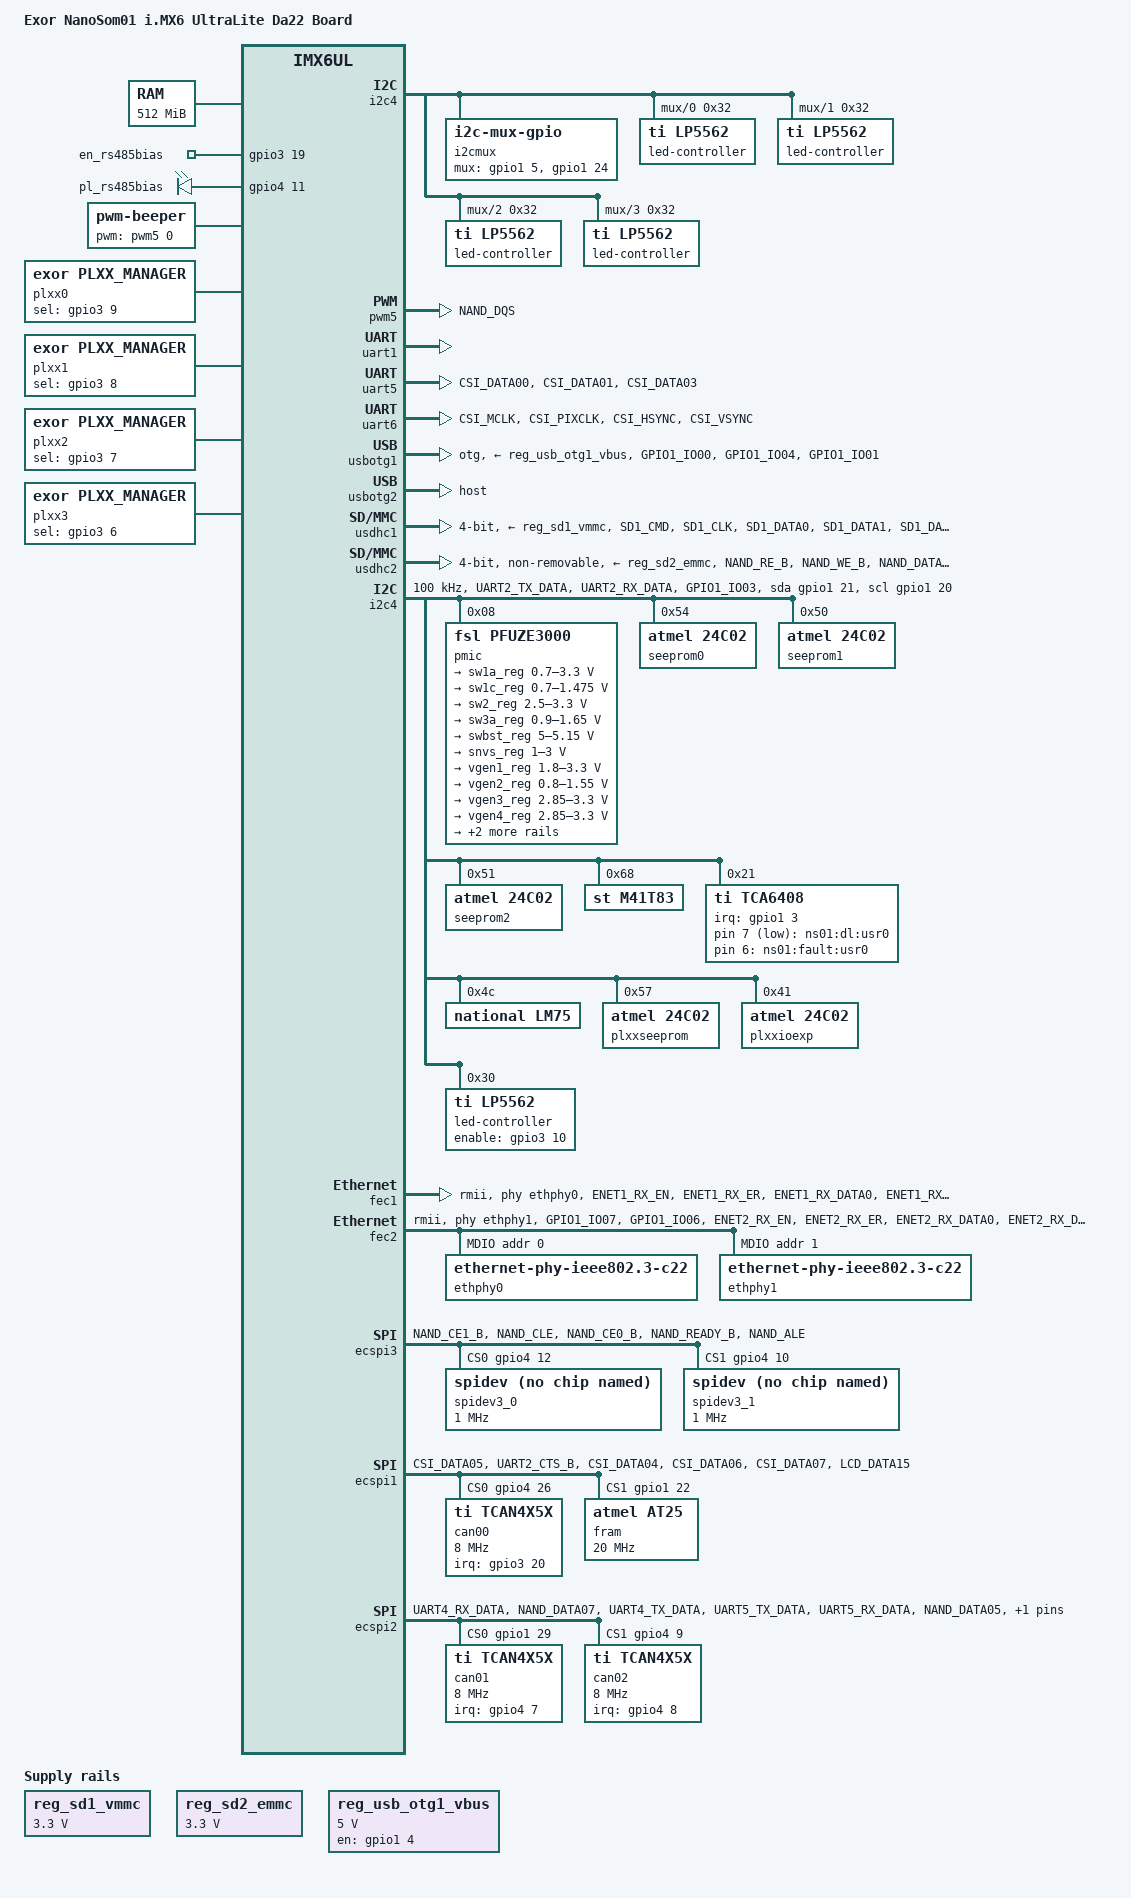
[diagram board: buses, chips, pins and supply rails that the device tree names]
/*
 * Copyright (C) 2018 Exor International.
 *
 * This program is free software; you can redistribute it and/or modify
 * it under the terms of the GNU General Public License version 2 as
 * published by the Free Software Foundation.
 */

/dts-v1/;

#include <dt-bindings/input/input.h>
#include "imx6ul.dtsi"
#include <dt-bindings/leds/common.h>

/ {
	model = "Exor NanoSom01 i.MX6 UltraLite Da22 Board";
	compatible = "exor,ns01-ek435", "fsl,imx6ul";

	aliases {
		i2c0 = &i2c4;
		serial0 = &uart5;    //Main RS485 uart
		serial1 = &uart6;    //Aux uart on plugin module
		serial2 = &uart1;    //Console uart
		watchdog0 = &wdog1;
		spi0 = &ecspi3;      //spidev0,1 for plugins
		spi1 = &ecspi1;      //can0, fram
		spi2 = &ecspi2;      //can1,2 on plugins
		ethernet0 = &fec1;
		ethernet1 = &fec2;
	};

	chosen {
		stdout-path = &uart1;
	};

	memory {
		reg = <0x80000000 0x20000000>;
	};

	reg_sd1_vmmc: sd1_regulator {
		compatible = "regulator-fixed";
		regulator-name = "emmc_enable";
		regulator-min-microvolt = <3300000>;
		regulator-max-microvolt = <3300000>;
		regulator-boot-on;
		regulator-always-on;
		enable-active-high;
	};

	reg_sd2_emmc: sd2_regulator {
		compatible = "regulator-fixed";
		regulator-name = "emmc_enable";
		regulator-min-microvolt = <3300000>;
		regulator-max-microvolt = <3300000>;
		regulator-boot-on;
		regulator-always-on;
		enable-active-high;
	};
	
	reg_usb_otg1_vbus: regulator-usb-otg1 {
		compatible = "regulator-fixed";
		regulator-name = "usb_otg1_vbus";
		regulator-min-microvolt = <5000000>;
		regulator-max-microvolt = <5000000>;
		gpio = <&gpio1 4 GPIO_ACTIVE_HIGH>;
		enable-active-high;
	};
	
	leds {
		compatible = "gpio-leds";
		pinctrl-names = "default";

		led@1 {
			label = "ns01:dl:usr0";
			gpios = <&tca6408 7 1>;
			default-state = "on";
		};

		led@2 {
			label = "ns01:fault:usr0";
			gpios = <&tca6408 6 0>;
			default-state = "off";
		};
		
		led@3 {
			label = "en_rs485bias";
			gpios = <&gpio3 19 0>;
			default-state = "off";
		};

		led@4 {
			label = "pl_rs485bias";
			gpios = <&gpio4 11 0>;
			default-state = "off";
		};
	};

	beeper {
	  compatible = "pwm-beeper";
	  pwms = <&pwm5 0 50000 0>;
	};	
	
	working_hours {
	  compatible = "working_hours";
	  nvmem-names = "eeprom", "rtcnvram";
	  nvmem = <&seeprom0>, <&m41t83>;
	  status = "okay";
	};
	
	plxx0: plugin0 {
	  compatible = "exor,plxx_manager";
	  nvmem-names = "eeprom", "ioexp";
	  nvmem = <&plxxseeprom>, <&plxxioexp>;
	  sel-gpio = <&gpio3 9 0>;
	  index = <0>;
	  status = "okay";
	};

	plxx1: plugin1 {
	  compatible = "exor,plxx_manager";
	  nvmem-names = "eeprom", "ioexp";
	  nvmem = <&plxxseeprom>, <&plxxioexp>;
	  sel-gpio = <&gpio3 8 0>;
	  index = <1>;
	  status = "okay";
	};

	plxx2: plugin2 {
	  compatible = "exor,plxx_manager";
	  nvmem-names = "eeprom", "ioexp";
	  nvmem = <&plxxseeprom>, <&plxxioexp>;
	  sel-gpio = <&gpio3 7 0>;
	  index = <2>;
	  status = "okay";
	};

	plxx3: plugin3 {
	  compatible = "exor,plxx_manager";
	  nvmem-names = "eeprom", "ioexp";
	  nvmem = <&plxxseeprom>, <&plxxioexp>;
	  sel-gpio = <&gpio3 6 0>;
	  index = <3>;
	  status = "okay";
	};
	
	i2cmux {
		compatible = "i2c-mux-gpio";
		#address-cells = <1>;
		#size-cells = <0>;
		mux-gpios = <&gpio1 5 0 &gpio1 24 0>;
		i2c-parent = <&i2c4>;

		i2c@0 {
			reg = <0>;
			#address-cells = <1>;
			#size-cells = <0>;
			
			led-controller@32 {
				compatible = "ti,lp5562";
				reg = <0x32>;
				clock-mode = /bits/ 8 <1>;
				status = "okay";
				#address-cells = <1>;
				#size-cells = <0>;

				chan@0 {
					chan-name = "pl0_R";
					led-cur = /bits/ 8 <0x50>;
					max-cur = /bits/ 8 <0x60>;
					color = <LED_COLOR_ID_RED>;
					reg = <0>;
				};

				chan@1 {
					chan-name = "pl0_G";
					led-cur = /bits/ 8 <0x14>;
					max-cur = /bits/ 8 <0x60>;
					color = <LED_COLOR_ID_GREEN>;
					linux,default-trigger = "default-on";
					reg = <1>;
				};

				chan@2 {
					chan-name = "pl0_B";
					led-cur = /bits/ 8 <0x60>;
					max-cur = /bits/ 8 <0x60>;
					color = <LED_COLOR_ID_BLUE>;
					reg = <2>;
				};

				chan@3 {
					chan-name = "pl0_W";
					led-cur = /bits/ 8 <0x0>;
					max-cur = /bits/ 8 <0x0>;
					color = <LED_COLOR_ID_WHITE>;
					reg = <3>;
				};
			};				
		};

		i2c@1 {
			reg = <1>;
			#address-cells = <1>;
			#size-cells = <0>;
			
			led-controller@32 {
				compatible = "ti,lp5562";
				reg = <0x32>;
				clock-mode = /bits/ 8 <1>;
				status = "okay";
				#address-cells = <1>;
				#size-cells = <0>;

				chan@0 {
					chan-name = "pl1_R";
					led-cur = /bits/ 8 <0x50>;
					max-cur = /bits/ 8 <0x60>;
					color = <LED_COLOR_ID_RED>;
					reg = <0>;
				};

				chan@1 {
					chan-name = "pl1_G";
					led-cur = /bits/ 8 <0x14>;
					max-cur = /bits/ 8 <0x60>;
					color = <LED_COLOR_ID_GREEN>;
					linux,default-trigger = "default-on";
					reg = <1>;
				};

				chan@2 {
					chan-name = "pl1_B";
					led-cur = /bits/ 8 <0x60>;
					max-cur = /bits/ 8 <0x60>;
					color = <LED_COLOR_ID_BLUE>;
					reg = <2>;
				};

				chan@3 {
					chan-name = "pl1_W";
					led-cur = /bits/ 8 <0x0>;
					max-cur = /bits/ 8 <0x0>;
					color = <LED_COLOR_ID_WHITE>;
					reg = <3>;
				};
			};				
		};
		
		i2c@2 {
			reg = <2>;
			#address-cells = <1>;
			#size-cells = <0>;
			
			led-controller@32 {
				compatible = "ti,lp5562";
				reg = <0x32>;
				clock-mode = /bits/ 8 <1>;
				status = "okay";
				#address-cells = <1>;
				#size-cells = <0>;

				chan@0 {
					chan-name = "pl2_R";
					led-cur = /bits/ 8 <0x50>;
					max-cur = /bits/ 8 <0x60>;
					color = <LED_COLOR_ID_RED>;
					reg = <0>;
				};

				chan@1 {
					chan-name = "pl2_G";
					led-cur = /bits/ 8 <0x14>;
					max-cur = /bits/ 8 <0x60>;
					color = <LED_COLOR_ID_GREEN>;
					linux,default-trigger = "default-on";
					reg = <1>;
				};

				chan@2 {
					chan-name = "pl2_B";
					led-cur = /bits/ 8 <0x60>;
					max-cur = /bits/ 8 <0x60>;
					color = <LED_COLOR_ID_BLUE>;
					reg = <2>;
				};

				chan@3 {
					chan-name = "pl2_W";
					led-cur = /bits/ 8 <0x0>;
					max-cur = /bits/ 8 <0x0>;
					color = <LED_COLOR_ID_WHITE>;
					reg = <3>;
				};
			};				
		};
		
		i2c@3 {
			reg = <3>;
			#address-cells = <1>;
			#size-cells = <0>;
			
			led-controller@32 {
				compatible = "ti,lp5562";
				reg = <0x32>;
				clock-mode = /bits/ 8 <1>;
				status = "okay";
				#address-cells = <1>;
				#size-cells = <0>;

				chan@0 {
					chan-name = "pl3_R";
					led-cur = /bits/ 8 <0x50>;
					max-cur = /bits/ 8 <0x60>;
					color = <LED_COLOR_ID_RED>;
					reg = <0>;
				};

				chan@1 {
					chan-name = "pl3_G";
					led-cur = /bits/ 8 <0x14>;
					max-cur = /bits/ 8 <0x60>;
					color = <LED_COLOR_ID_GREEN>;
					linux,default-trigger = "default-on";
					reg = <1>;
				};

				chan@2 {
					chan-name = "pl3_B";
					led-cur = /bits/ 8 <0x60>;
					max-cur = /bits/ 8 <0x60>;
					color = <LED_COLOR_ID_BLUE>;
					reg = <2>;
				};

				chan@3 {
					chan-name = "pl3_W";
					led-cur = /bits/ 8 <0x0>;
					max-cur = /bits/ 8 <0x0>;
					color = <LED_COLOR_ID_WHITE>;
					reg = <3>;
				};
			};				
		};
	};	
};

&clks {
	assigned-clocks = <&clks IMX6UL_CLK_PLL4_AUDIO_DIV>;
	assigned-clock-rates = <786432000>;
};

&cpu0 {
	arm-supply = <&reg_arm>;
	soc-supply = <&reg_soc>;
};

&gpc {
	fsl,cpu_pupscr_sw2iso = <0x2>;
	fsl,cpu_pupscr_sw = <0x1>;
	fsl,cpu_pdnscr_iso2sw = <0x1>;
	fsl,cpu_pdnscr_iso = <0x1>;
	fsl,wdog-reset = <1>; /* watchdog select of reset source */
	fsl,ldo-bypass = <1>; /* use ldo-bypass, u-boot will check it and configure */
};

&pwm5 {
	pinctrl-names = "default";
	pinctrl-0 = <&pinctrl_pwm5>;
	clocks = <&clks IMX6UL_CLK_PWM5>,
	 <&clks IMX6UL_CLK_PWM5>;
	status = "okay";
};

&uart1 {
	/* Internal/debug /dev/ttymxc2 */
	/delete-property/dmas;
	/delete-property/dma-names;	
	status = "okay";
};

&uart5 {
	/* Main RS485 /dev/ttymxc0 */
	pinctrl-names = "default";
	pinctrl-0 = <&pinctrl_uart5>;
	rts-gpio = <&gpio4 24 0>;
	fsl,uart-has-rtscts;
	status = "okay";
	/delete-property/dmas;
	/delete-property/dma-names;	
};

&uart6 {
	/* PlugIn /dev/ttymxc1 */
	pinctrl-names = "default";
	pinctrl-0 = <&pinctrl_uart6>;
	fsl,uart-has-rtscts;
	is-plugin-module;
	status = "okay";
	plugin1 = <&plxx0>;
	plugin2 = <&plxx1>;
	/delete-property/dmas;
	/delete-property/dma-names;	
};

&usbotg1 {
	dr_mode = "otg";
	vbus-supply = <&reg_usb_otg1_vbus>;
	pinctrl-0 = <&pinctrl_usbotg1>;
	status = "okay";
};

&usbotg2 {
	dr_mode = "host";
	disable-over-current;
	status = "okay";
};

&usdhc1 {
	pinctrl-names = "default";
	pinctrl-0 = <&pinctrl_usdhc1>;
	bus-width = <4>;
	cd-gpios = <&gpio1 19 GPIO_ACTIVE_LOW>;
	keep-power-in-suspend;
	enable-sdio-wakeup;
	status = "okay";
	vmmc-supply = <&reg_sd1_vmmc>;
};

&usdhc2 {
	pinctrl-names = "default";
	pinctrl-0 = <&pinctrl_usdhc2>;
	no-1-8-v;
	bus-width = <4>;
	non-removable;
	keep-power-in-suspend;
	enable-sdio-wakeup;
	status = "okay";
	vmmc-supply = <&reg_sd2_emmc>;
};

&i2c4 {
	clock-frequency = <100000>;
	pinctrl-names = "default", "gpio";
	pinctrl-0 = <&pinctrl_i2c4>;
	pinctrl-1 = <&pinctrl_i2c4_gpio>;
	scl-gpios = <&gpio1 20 GPIO_ACTIVE_HIGH>;
	sda-gpios = <&gpio1 21 GPIO_ACTIVE_HIGH>;
	status = "okay";

	pmic: pfuze3000@8 {
		compatible = "fsl,pfuze3000";
		reg = <0x08>;

		regulators {
			sw1a_reg: sw1a {
					regulator-min-microvolt = <700000>;
					regulator-max-microvolt = <3300000>;
					regulator-boot-on;
					regulator-always-on;
					regulator-ramp-delay = <6250>;
			};

			/* use sw1c_reg to align with pfuze100/pfuze200 */
			sw1c_reg: sw1b {
				regulator-min-microvolt = <700000>;
				regulator-max-microvolt = <1475000>;
				regulator-boot-on;
				regulator-always-on;
				regulator-ramp-delay = <6250>;
			};

			sw2_reg: sw2 {
				regulator-min-microvolt = <2500000>;
				regulator-max-microvolt = <3300000>;
				regulator-boot-on;
				regulator-always-on;
			};

			sw3a_reg: sw3 {
				regulator-min-microvolt = <900000>;
				regulator-max-microvolt = <1650000>;
				regulator-boot-on;
				regulator-always-on;
			};

			swbst_reg: swbst {
				regulator-min-microvolt = <5000000>;
				regulator-max-microvolt = <5150000>;
				regulator-boot-on;
				regulator-always-on;
			};

			snvs_reg: vsnvs {
				regulator-min-microvolt = <1000000>;
				regulator-max-microvolt = <3000000>;
				regulator-boot-on;
				regulator-always-on;
			};

			vref_reg: vrefddr {
				regulator-boot-on;
				regulator-always-on;
			};

			vgen1_reg: vldo1 {
				regulator-min-microvolt = <1800000>;
				regulator-max-microvolt = <3300000>;
				regulator-always-on;
			};

			vgen2_reg: vldo2 {
				regulator-min-microvolt = <800000>;
				regulator-max-microvolt = <1550000>;
				regulator-always-on;
			};

			vgen3_reg: vccsd {
				regulator-min-microvolt = <2850000>;
				regulator-max-microvolt = <3300000>;
				regulator-always-on;
			};

			vgen4_reg: v33 {
				regulator-min-microvolt = <2850000>;
				regulator-max-microvolt = <3300000>;
				regulator-always-on;
			};

			vgen5_reg: vldo3 {
				regulator-min-microvolt = <1800000>;
				regulator-max-microvolt = <3300000>;
				regulator-always-on;
			};

			vgen6_reg: vldo4 {
				regulator-min-microvolt = <1800000>;
				regulator-max-microvolt = <3300000>;
				regulator-always-on;
			};
		};
	};
	
	seeprom0:seeprom0@54 {
		compatible = "atmel,24c02";
		reg = <0x54>;
	};

	seeprom1:seeprom1@50 {
		compatible = "atmel,24c02";
		reg = <0x50>;
	};

	seeprom2:seeprom2@51 {
		compatible = "atmel,24c02";
		reg = <0x51>;
	};
	
	m41t83:m41t83@68 {
		compatible = "st,m41t83";
		reg = <0x68>;
	};

	tca6408: tca6408@21 {
		compatible = "ti,tca6408";
		interrupt-parent = <&gpio1>;
		interrupts = <3 0x8>;
		gpio-controller;
		#gpio-cells = <2>;
		interrupt-controller;
		#interrupt-cells = <2>;
		reg = <0x21>;
		restart-if-fails;
	};
	
	lm75@4c {
	  compatible = "national,lm75";
	  reg = <0x4C>;
	  status = "okay";
	};
	
	plxxseeprom:seeprom1@57 {
		compatible = "atmel,24c02";
		reg = <0x57>;
	};

	plxxioexp:ioexp1@41 {
		compatible = "atmel,24c02";
		reg = <0x41>;
	};
	
	led-controller@30 {
		compatible = "ti,lp5562";
		reg = <0x30>;
		clock-mode = /bits/ 8 <1>;
		status = "okay";
		#address-cells = <1>;
		#size-cells = <0>;
		enable-gpio = <&gpio3 10 0>; 

		chan@0 {
			chan-name = "R";
			led-cur = /bits/ 8 <0x50>;
			max-cur = /bits/ 8 <0x60>;
            color = <LED_COLOR_ID_RED>;
 			reg = <0>;
		};

		chan@1 {
			chan-name = "G";
			led-cur = /bits/ 8 <0x14>;
			max-cur = /bits/ 8 <0x60>;
            color = <LED_COLOR_ID_GREEN>;
            linux,default-trigger = "default-on";
			reg = <1>;
		};

		chan@2 {
			chan-name = "B";
			led-cur = /bits/ 8 <0x60>;
			max-cur = /bits/ 8 <0x60>;
            color = <LED_COLOR_ID_BLUE>;
			reg = <2>;
		};

		chan@3 {
			chan-name = "W";
			led-cur = /bits/ 8 <0x0>;
			max-cur = /bits/ 8 <0x0>;
            color = <LED_COLOR_ID_WHITE>;
			reg = <3>;
		};
	};		
};

&iomuxc {
  	pinctrl-names = "default";
	pinctrl-0 = <&pinctrl_hog_1>;
	imx6ul-ns01 {
		pinctrl_usdhc1: usdhc1grp {
			fsl,pins = <
				MX6UL_PAD_SD1_CMD__USDHC1_CMD     0x170F9
				MX6UL_PAD_SD1_CLK__USDHC1_CLK     0x100F9
				MX6UL_PAD_SD1_DATA0__USDHC1_DATA0 0x170F9
				MX6UL_PAD_SD1_DATA1__USDHC1_DATA1 0x170F9
				MX6UL_PAD_SD1_DATA2__USDHC1_DATA2 0x170F9
				MX6UL_PAD_SD1_DATA3__USDHC1_DATA3 0x170F9
				MX6UL_PAD_UART1_RTS_B__GPIO1_IO19 0x170F9 /* SD1 CD */
			>;
		};

		pinctrl_usdhc2: usdhc2grp {
			fsl,pins = <
				MX6UL_PAD_NAND_RE_B__USDHC2_CLK     0x17059
				MX6UL_PAD_NAND_WE_B__USDHC2_CMD     0x17059
				MX6UL_PAD_NAND_DATA00__USDHC2_DATA0 0x17059
				MX6UL_PAD_NAND_DATA01__USDHC2_DATA1 0x17059
				MX6UL_PAD_NAND_DATA02__USDHC2_DATA2 0x17059
				MX6UL_PAD_NAND_DATA03__USDHC2_DATA3 0x17059
			>;
		};

		pinctrl_hog_1: hoggrp {
			fsl,pins = <
				MX6UL_PAD_LCD_DATA05__GPIO3_IO10    0x13059 /* DIS_PGOOD, default PD */
				MX6UL_PAD_LCD_DATA04__GPIO3_IO09    0x13059 /* PLSEL1 */
				MX6UL_PAD_LCD_DATA03__GPIO3_IO08    0x13059 /* PLSEL2 */
				MX6UL_PAD_LCD_DATA02__GPIO3_IO07    0x13059 /* PLSEL3 */
				MX6UL_PAD_LCD_DATA01__GPIO3_IO06    0x13059 /* PLSEL4 */
				MX6UL_PAD_GPIO1_IO05__GPIO1_IO05    0x13059 /* GPIO1 (i2c mux) */
				MX6UL_PAD_UART3_TX_DATA__GPIO1_IO24 0x13059 /* GPIO2 (i2c mux) */
				MX6UL_PAD_NAND_WP_B__GPIO4_IO11     0x13059 /* PL_485_BIAS */
				MX6UL_PAD_LCD_DATA14__GPIO3_IO19    0x13059 /* EN_485_BIAS */
				>;
		};

		pinctrl_i2c4: i2c4grp {
			fsl,pins = <
				MX6UL_PAD_UART2_TX_DATA__I2C4_SCL 0x4001b8b0
				MX6UL_PAD_UART2_RX_DATA__I2C4_SDA 0x4001b8b0
				MX6UL_PAD_GPIO1_IO03__GPIO1_IO03  0x17059
			>;
		};

		pinctrl_i2c4_gpio: i2c4grpgpio {
			fsl,pins = <
				MX6UL_PAD_UART2_TX_DATA__GPIO1_IO20 0x1b0b1
				MX6UL_PAD_UART2_RX_DATA__GPIO1_IO21 0x1b0b1
				MX6UL_PAD_GPIO1_IO03__GPIO1_IO03  0x17059
			>;
		};
		
		pinctrl_enet1: enet1grp {
			fsl,pins = <
				MX6UL_PAD_ENET1_RX_EN__ENET1_RX_EN	0x1b0b0
				MX6UL_PAD_ENET1_RX_ER__ENET1_RX_ER	0x1b0b0
				MX6UL_PAD_ENET1_RX_DATA0__ENET1_RDATA00	0x1b0b0
				MX6UL_PAD_ENET1_RX_DATA1__ENET1_RDATA01	0x1b0b0
				MX6UL_PAD_ENET1_TX_EN__ENET1_TX_EN	0x1b0b0
				MX6UL_PAD_ENET1_TX_DATA0__ENET1_TDATA00	0x1b0b0
				MX6UL_PAD_ENET1_TX_DATA1__ENET1_TDATA01	0x1b0b0
				MX6UL_PAD_ENET1_TX_CLK__ENET1_REF_CLK1	0x4b01b0a8
			>;
		};

		pinctrl_enet2: enet2grp {
			fsl,pins = <
				MX6UL_PAD_GPIO1_IO07__ENET2_MDC		0x1b0b0
				MX6UL_PAD_GPIO1_IO06__ENET2_MDIO	0x1b0b0
				MX6UL_PAD_ENET2_RX_EN__ENET2_RX_EN	0x1b0b0
				MX6UL_PAD_ENET2_RX_ER__ENET2_RX_ER	0x1b0b0
				MX6UL_PAD_ENET2_RX_DATA0__ENET2_RDATA00	0x1b0b0
				MX6UL_PAD_ENET2_RX_DATA1__ENET2_RDATA01	0x1b0b0
				MX6UL_PAD_ENET2_TX_EN__ENET2_TX_EN	0x1b0b0
				MX6UL_PAD_ENET2_TX_DATA0__ENET2_TDATA00	0x1b0b0
				MX6UL_PAD_ENET2_TX_DATA1__ENET2_TDATA01	0x1b0b0
				MX6UL_PAD_ENET2_TX_CLK__ENET2_REF_CLK2	0x4b01b0a8
			>;
		};
		
		pinctrl_uart5: uart5grp {
			fsl,pins = <
				MX6UL_PAD_CSI_DATA00__UART5_DCE_TX   0x1b0b1
				MX6UL_PAD_CSI_DATA01__UART5_DCE_RX   0x1b0b1
				MX6UL_PAD_CSI_DATA03__GPIO4_IO24     0x1b0b1
			>;
		};

		pinctrl_uart6: uart6grp {
			fsl,pins = <
				MX6UL_PAD_CSI_MCLK__UART6_DCE_TX	0x1b0b1
				MX6UL_PAD_CSI_PIXCLK__UART6_DCE_RX	0x1b0b1
				MX6UL_PAD_CSI_HSYNC__UART6_DCE_CTS	0x1b0b1
				MX6UL_PAD_CSI_VSYNC__UART6_DCE_RTS	0x1b0b1
			>;
		};

		pinctrl_ecspi1: ecspi1grp-1 {
			fsl,pins = <
				MX6UL_PAD_CSI_DATA05__GPIO4_IO26	0x10b0 /* cs0 can0 */
				MX6UL_PAD_UART2_CTS_B__GPIO1_IO22	0x10b0 /* cs1 fram */
				MX6UL_PAD_CSI_DATA04__ECSPI1_SCLK	0x10b0
				MX6UL_PAD_CSI_DATA06__ECSPI1_MOSI	0x10b0
				MX6UL_PAD_CSI_DATA07__ECSPI1_MISO	0x10b0
				MX6UL_PAD_LCD_DATA15__GPIO3_IO20    0x10b0 /* can0 irq */
			>;
		};
		
		pinctrl_ecspi3: ecspi3grp {
			fsl,pins = <
				MX6UL_PAD_NAND_CE1_B__ECSPI3_MOSI   0x10b0
				MX6UL_PAD_NAND_CLE__ECSPI3_MISO     0x10b0
				MX6UL_PAD_NAND_CE0_B__ECSPI3_SCLK   0x10b0
				MX6UL_PAD_NAND_READY_B__GPIO4_IO12  0x10b0
				MX6UL_PAD_NAND_ALE__GPIO4_IO10      0x10b0
			>;
		};

		pinctrl_ecspi2: ecspi1grp-2 {
			fsl,pins = <
				MX6UL_PAD_UART4_RX_DATA__GPIO1_IO29	    0x10b0 /* cs0 can1 */
				MX6UL_PAD_NAND_DATA07__GPIO4_IO09       0x10b0 /* cs1 can2 */
				MX6UL_PAD_UART4_TX_DATA__ECSPI2_SCLK	0x10b0
				MX6UL_PAD_UART5_TX_DATA__ECSPI2_MOSI	0x10b0
				MX6UL_PAD_UART5_RX_DATA__ECSPI2_MISO	0x10b0
				MX6UL_PAD_NAND_DATA05__GPIO4_IO07       0x10b0 /* can1 irq */
				MX6UL_PAD_NAND_DATA06__GPIO4_IO08       0x10b0 /* can2 irq */
			>;
		};
		
		pinctrl_pwm5: pwm5grp {
			fsl,pins = <
				MX6UL_PAD_NAND_DQS__PWM5_OUT   0x110b0
			>;
		};
		
		pinctrl_usbotg1: usbotg1grp {
			fsl,pins = <
				MX6UL_PAD_GPIO1_IO00__ANATOP_OTG1_ID	0x17059
				MX6UL_PAD_GPIO1_IO04__GPIO1_IO04	0x17059
				MX6UL_PAD_GPIO1_IO01__USB_OTG1_OC	0x17059
			>;
		};
	};
};

&fec1 {
	pinctrl-names = "default";
	pinctrl-0 = <&pinctrl_enet1>;
	phy-mode = "rmii";
	phy-handle = <&ethphy0>;
	status = "okay";
};

&fec2 {
	pinctrl-names = "default";
	pinctrl-0 = <&pinctrl_enet2>;
	phy-mode = "rmii";
	phy-handle = <&ethphy1>;
	status = "okay";

	mdio {
		#address-cells = <1>;
		#size-cells = <0>;

		ethphy0: ethernet-phy@0 {
			compatible = "ethernet-phy-ieee802.3-c22";
			reg = <0>;
		};

		ethphy1: ethernet-phy@1 {
			compatible = "ethernet-phy-ieee802.3-c22";
			reg = <1>;
		};
	};
};

&ecspi3 { /* spi0: spidev0,1 fro plugins */
	fsl,spi-num-chipselects = <2>;
	cs-gpios = <&gpio4 12 0>, <&gpio4 10 0>;
	pinctrl-names = "default";
	pinctrl-0 = <&pinctrl_ecspi3>;
	status = "okay";
	/delete-property/dmas;
	/delete-property/dma-names;	

	spidev3_0: spi3@0 {
		compatible = "generic,spidev";
		reg = <0>;
		spi-max-frequency = <1000000>;
	};
	
	spidev3_1: spi3@1 {
		compatible = "generic,spidev";
		reg = <1>;
		spi-max-frequency = <1000000>;
	};
};

&ecspi1 { /* spi1: can0, fram */
	fsl,spi-num-chipselects = <2>;
	cs-gpios = <&gpio4 26 0>, <&gpio1 22 0>;
	pinctrl-names = "default";
	pinctrl-0 = <&pinctrl_ecspi1>;
	status = "okay";
	/delete-property/dmas;
	/delete-property/dma-names;	

    can00: spi1@0 {
		compatible = "ti,tcan4x5x";
		reg = <0>;
		#address-cells = <1>;
		#size-cells = <1>;
		spi-max-frequency = <8000000>;
		bosch,mram-cfg = <0x0 0 0 32 0 0 1 1>;
		interrupt-parent = <&gpio3>;
		interrupts = <20 IRQ_TYPE_LEVEL_LOW>;
	};	
	
    fram: at25@1 {
        /* CS1 FRAM */
	    compatible = "atmel,at25", "st,m95256";
	    reg = <1>;
	    spi-max-frequency = <20000000>;
	    pagesize = <64>;
	    size = <65536>;
	    address-width = <16>;
	};
};

&ecspi2 { /* can1, can2 on plugins */
	fsl,spi-num-chipselects = <2>;
	cs-gpios = <&gpio1 29 0>, <&gpio4 9 0>;
	pinctrl-names = "default";
	pinctrl-0 = <&pinctrl_ecspi2>;
	status = "okay";
	/delete-property/dmas;
	/delete-property/dma-names;	

    can01: spi2@0 {
		compatible = "ti,tcan4x5x";
		reg = <0>;
		#address-cells = <1>;
		#size-cells = <1>;
		spi-max-frequency = <8000000>;
		bosch,mram-cfg = <0x0 0 0 32 0 0 1 1>;
		interrupt-parent = <&gpio4>;
		interrupts = <7 IRQ_TYPE_LEVEL_LOW>;
	};	

    can02: spi2@1 {
		compatible = "ti,tcan4x5x";
		reg = <1>;
		#address-cells = <1>;
		#size-cells = <1>;
		spi-max-frequency = <8000000>;
		bosch,mram-cfg = <0x0 0 0 32 0 0 1 1>;
		interrupt-parent = <&gpio4>;
		interrupts = <8 IRQ_TYPE_LEVEL_LOW>;
	};	
};
